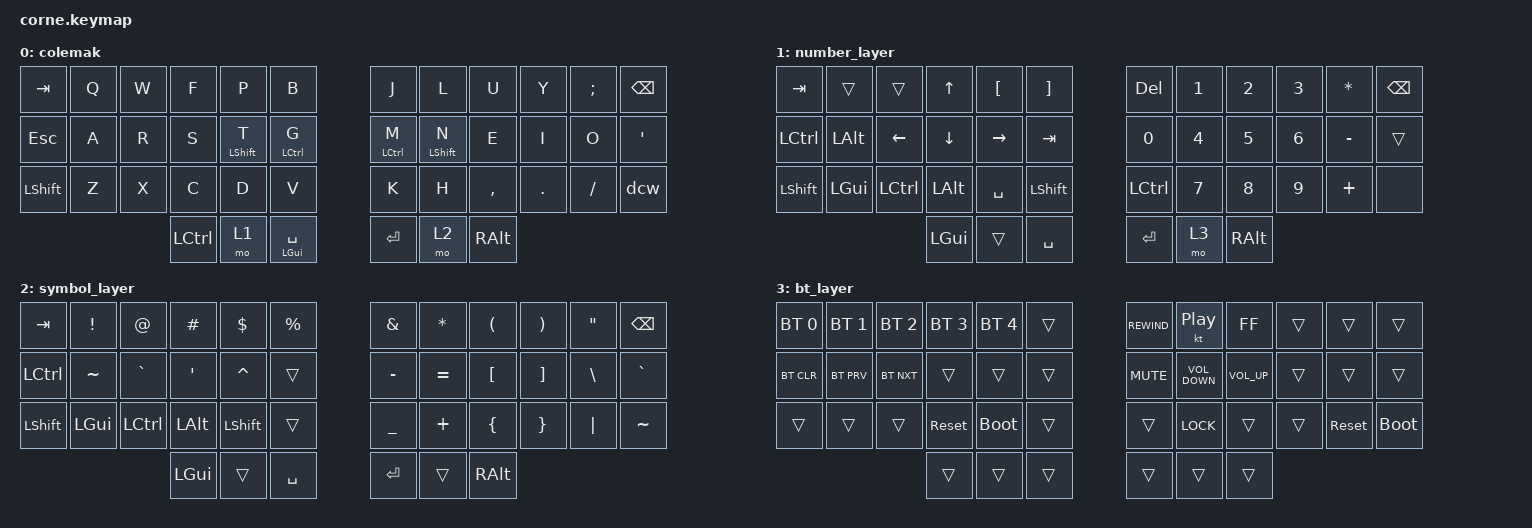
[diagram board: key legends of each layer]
/*
 * Copyright (c) 2020 The ZMK Contributors
 *
 * SPDX-License-Identifier: MIT
 */

#include <behaviors.dtsi>
#include <dt-bindings/zmk/bt.h>
#include <dt-bindings/zmk/keys.h>
#include <dt-bindings/zmk/keys.h>

/ {
    behaviors {
        dcw: default_caps_word {
            compatible = "zmk,behavior-caps-word";
            label = "Default Caps Word";
            #binding-cells = <0>;
            continue-list = <UNDERSCORE MINUS BACKSPACE DELETE>;
        };

        cmt: custom_mod_tap {
            compatible = "zmk,behavior-hold-tap";
            label = "CUSTOM_MOD_TAP";
            bindings = <&kp>, <&kp>;

            #binding-cells = <2>;
            retro-tap;
            tapping-term-ms = <200>;
            quick-tap-ms = <100>;
            flavor = "tap-preferred";
        };

        hos: hold_or_sticky {
            compatible = "zmk,behavior-hold-tap";
            label = "Hold or Sticky";
            bindings = <&kp>, <&sk>;

            #binding-cells = <2>;
            tapping-term-ms = <200>;
        };

        hml: hml {
            compatible = "zmk,behavior-hold-tap";
            label = "HML";
            bindings = <&kp>, <&kp>;

            #binding-cells = <2>;
            flavor = "balanced";
            tapping-term-ms = <300>;
            quick-tap-ms = <175>;
            require-prior-idle-ms = <150>;
            hold-trigger-key-positions = <6 7 8 9 10 11 18 19 20 21 22 23 30 31 32 33 34 35 39 40 41 36 37 38>;
            hold-trigger-on-release;
        };

        hmr: hmr {
            compatible = "zmk,behavior-hold-tap";
            label = "HMR";
            bindings = <&kp>, <&kp>;

            #binding-cells = <2>;
            tapping-term-ms = <300>;
            quick-tap-ms = <175>;
            require-prior-idle-ms = <150>;
            flavor = "balanced";
            hold-trigger-key-positions = <0 1 2 3 4 5 12 13 14 15 16 17 24 25 26 27 28 29 36 37 38 39 40 41>;
            hold-trigger-on-release;
        };
    };

    keymap {
        compatible = "zmk,keymap";

        colemak {
            // -----------------------------------------------------------------------------------------
            // |  TAB |  Q  |  W  |  F  |  P  |  G  |   |  J  |  L   |  U  |  Y  |  ;  | BKSP |
            // |  ESC |  A  |  R  |  S  |  T  |  D  |   |  H  |  N   |  E  |  I  |  O  |  '   |
            // | SHFT |  Z  |  X  |  C  |  V  |  B  |   |  K  |  M   |  ,  |  .  |  /  | ESC  |
            //                    | GUI | LWR | SPC |   | ENT | RSE  | ALT |

            bindings = <
&kp TAB    &kp Q  &kp W  &kp F      &kp P         &kp B                  &kp J         &kp L         &kp U      &kp Y    &kp SEMI  &kp BSPC
&kp ESC    &kp A  &kp R  &kp S      &hml LSHFT T  &hml LCTRL G           &hmr LCTRL M  &hmr LSHFT N  &kp E      &kp I    &kp O     &kp SQT
&kp LSHFT  &kp Z  &kp X  &kp C      &kp D         &kp V                  &kp K         &kp H         &kp COMMA  &kp DOT  &kp FSLH  &dcw
                         &kp LCTRL  &mo 1         &cmt LEFT_GUI SPACE    &kp RET       &mo 2         &kp RALT
            >;
        };

        number_layer {
            // -----------------------------------------------------------------------------------------
            // |  TAB |  1  |  2  |  3  |  4  |  5  |   |  6  |  7  |  8  |  9  |  0  | BKSP |
            // | BTCLR| BT1 | BT2 | BT3 | BT4 | BT5 |   | LFT | DWN |  UP | RGT |     |      |
            // | SHFT |     |     |     |     |     |   |     |     |     |     |     |      |
            //                    | GUI |     | SPC |   | ENT |     | ALT |

            bindings = <
&kp TAB    &trans        &trans     &kp UP        &kp LEFT_BRACKET  &kp RIGHT_BRACKET    &kp DELETE    &kp NUMBER_1  &kp NUMBER_2  &kp NUMBER_3  &kp ASTRK  &kp BSPC
&kp LCTRL  &kp LEFT_ALT  &kp LEFT   &kp DOWN      &kp RIGHT         &kp TAB              &kp NUMBER_0  &kp NUMBER_4  &kp NUMBER_5  &kp NUMBER_6  &kp MINUS  &trans
&kp LSHFT  &kp LEFT_GUI  &kp LCTRL  &kp LEFT_ALT  &kp SPACE         &kp LEFT_SHIFT       &kp LCTRL     &kp NUMBER_7  &kp NUMBER_8  &kp NUMBER_9  &kp PLUS   &none
                                    &kp LGUI      &trans            &kp SPACE            &kp RET       &mo 3         &kp RALT
            >;
        };

        symbol_layer {
            // -----------------------------------------------------------------------------------------
            // |  TAB |  !  |  @  |  #  |  $  |  %  |   |  ^  |  &  |  *  |  (  |  )  | BKSP |
            // | CTRL |     |     |     |     |     |   |  -  |  =  |  [  |  ]  |  \  |  `   |
            // | SHFT |     |     |     |     |     |   |  _  |  +  |  {  |  }  | "|" |  ~   |
            //                    | GUI |     | SPC |   | ENT |     | ALT |

            bindings = <
&kp TAB    &kp EXCL   &kp AT     &kp HASH  &kp DLLR   &kp PRCNT    &kp AMPS   &kp STAR   &kp LEFT_PARENTHESIS  &kp RIGHT_PARENTHESIS  &kp DOUBLE_QUOTES  &kp BSPC
&kp LCTRL  &kp TILDE  &kp GRAVE  &kp APOS  &kp CARET  &trans       &kp MINUS  &kp EQUAL  &kp LBKT              &kp RBKT               &kp BSLH           &kp GRAVE
&kp LSHFT  &kp LGUI   &kp LCTRL  &kp LALT  &kp LSHFT  &trans       &kp UNDER  &kp PLUS   &kp LBRC              &kp RBRC               &kp PIPE           &kp TILDE
                                 &kp LGUI  &trans     &kp SPACE    &kp RET    &trans     &kp RALT
            >;
        };

        bt_layer {
            bindings = <
&bt BT_SEL 0  &bt BT_SEL 1  &bt BT_SEL 2  &bt BT_SEL 3  &bt BT_SEL 4  &trans    &kp C_REWIND  &kt C_PLAY_PAUSE   &kp C_FF         &trans  &trans      &trans
&bt BT_CLR    &bt BT_PRV    &bt BT_NXT    &trans        &trans        &trans    &kp K_MUTE    &kp C_VOLUME_DOWN  &kp C_VOLUME_UP  &trans  &trans      &trans
&trans        &trans        &trans        &sys_reset    &bootloader   &trans    &trans        &kp K_LOCK         &trans           &trans  &sys_reset  &bootloader
                                          &trans        &trans        &trans    &trans        &trans             &trans
            >;
        };
    };
};
